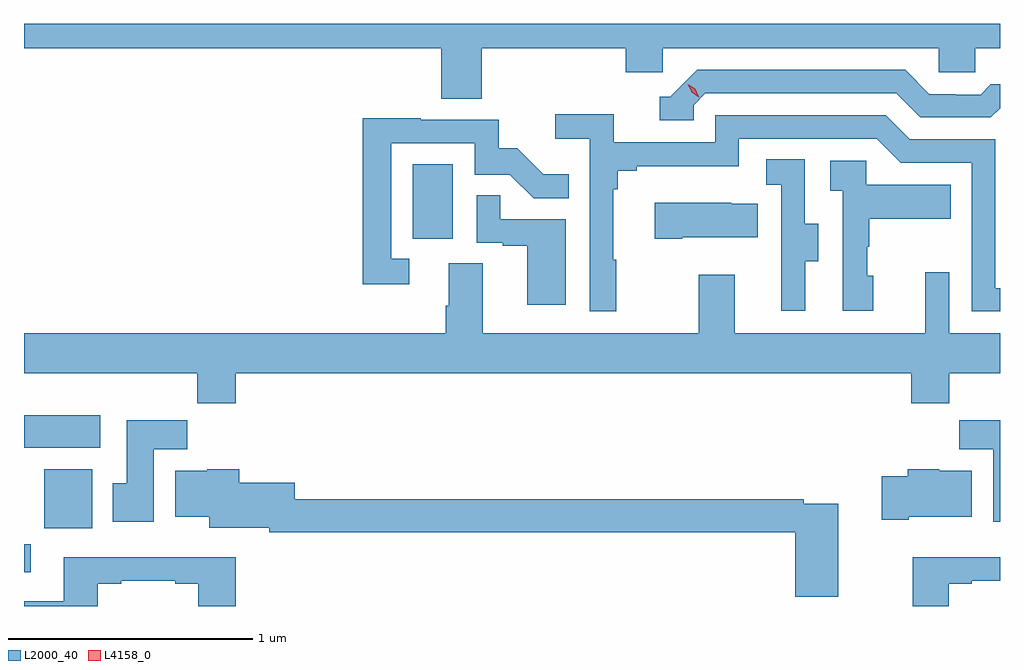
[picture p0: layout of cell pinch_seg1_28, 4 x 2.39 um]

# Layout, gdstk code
import gdstk
lib = gdstk.Library(unit=1e-6, precision=1e-09)
def R(c, l, rs):  # rectangles x0, y0, x1, y1
    for r in rs: c.add(gdstk.rectangle(r[:2], r[2:], *l))
def P(c, l, *ps):  # polygons
    for p in ps: c.add(gdstk.Polygon(p, *l))
L2000_40 = (2000, 40)
L4158_0 = (4158, 0)

pinch_seg1_28 = lib.new_cell('pinch_seg1_28')
R(pinch_seg1_28, L2000_40, [(1078.81,581.553,1078.837,581.666), (1078.892,581.732,1079.089,581.974), (1078.81,582.062,1079.122,582.196), (1080.404,582.918,1080.568,583.225)])
P(pinch_seg1_28, L2000_40, [(1080.686,583.7),(1081.277,583.7),(1081.277,583.602),(1081.428,583.602),(1081.428,583.7),(1082.559,583.7),(1082.559,583.602),(1082.709,583.602),(1082.709,583.7),(1082.81,583.7),(1082.81,583.8),(1078.81,583.8),(1078.81,583.7),(1080.521,583.7),(1080.521,583.492),(1080.686,583.492)],
  [(1081.554,583.467),(1081.602,583.515),(1082.385,583.515),(1082.484,583.416),(1082.773,583.416),(1082.81,583.453),(1082.81,583.552),(1082.773,583.552),(1082.731,583.509),(1082.628,583.509),(1082.628,583.512),(1082.521,583.512),(1082.422,583.611),(1081.569,583.611),(1081.458,583.5),(1081.415,583.5),(1081.415,583.404),(1081.554,583.404)],
  [(1081.237,582.833),(1081.225,582.833),(1081.225,583.121),(1081.244,583.121),(1081.244,583.198),(1081.321,583.198),(1081.321,583.217),(1081.74,583.217),(1081.74,583.329),(1082.304,583.329),(1082.403,583.23),(1082.694,583.23),(1082.694,582.621),(1082.81,582.621),(1082.81,582.717),(1082.79,582.717),(1082.79,583.326),(1082.44,583.326),(1082.341,583.425),(1081.644,583.425),(1081.644,583.314),(1081.226,583.314),(1081.226,583.43),(1080.987,583.43),(1080.987,583.328),(1081.128,583.328),(1081.128,582.621),(1081.237,582.621)],
  [(1080.388,582.837),(1080.315,582.837),(1080.315,583.311),(1080.657,583.311),(1080.657,583.182),(1080.801,583.182),(1080.899,583.084),(1081.043,583.084),(1081.043,583.183),(1080.939,583.183),(1080.832,583.29),(1080.756,583.29),(1080.756,583.407),(1080.437,583.407),(1080.437,583.412),(1080.199,583.412),(1080.199,582.732),(1080.388,582.732)],
  [(1082.011,582.826),(1082.065,582.826),(1082.065,582.981),(1082.01,582.981),(1082.01,583.244),(1081.851,583.244),(1081.851,583.141),(1081.914,583.141),(1081.914,582.837),(1081.913,582.837),(1081.913,582.624),(1082.011,582.624)],
  [(1082.29,582.768),(1082.265,582.768),(1082.265,582.887),(1082.275,582.887),(1082.275,583.001),(1082.609,583.001),(1082.609,583.141),(1082.262,583.141),(1082.262,583.239),(1082.115,583.239),(1082.115,583.115),(1082.166,583.115),(1082.166,582.624),(1082.29,582.624)],
  [(1081.03,582.999),(1080.761,582.999),(1080.761,583.097),(1080.666,583.097),(1080.666,582.903),(1080.773,582.903),(1080.773,582.891),(1080.872,582.891),(1080.872,582.648),(1081.03,582.648)],
  [(1081.507,582.926),(1081.817,582.926),(1081.817,583.063),(1081.709,583.063),(1081.709,583.066),(1081.395,583.066),(1081.395,582.919),(1081.507,582.919)],
  [(1079.678,582.368),(1082.447,582.368),(1082.447,582.244),(1082.603,582.244),(1082.603,582.368),(1082.81,582.368),(1082.81,582.532),(1082.601,582.532),(1082.601,582.781),(1082.504,582.781),(1082.504,582.532),(1081.723,582.532),(1081.723,582.772),(1081.576,582.772),(1081.576,582.532),(1080.691,582.532),(1080.691,582.818),(1080.551,582.818),(1080.551,582.644),(1080.539,582.644),(1080.539,582.532),(1078.81,582.532),(1078.81,582.368),(1079.521,582.368),(1079.521,582.244),(1079.678,582.244)],
  [(1079.341,582.056),(1079.48,582.056),(1079.48,582.175),(1079.231,582.175),(1079.231,581.916),(1079.174,581.916),(1079.174,581.76),(1079.341,581.76)],
  [(1082.81,582.175),(1082.644,582.175),(1082.644,582.056),(1082.783,582.056),(1082.783,581.76),(1082.81,581.76)],
  [(1082.437,581.78),(1082.695,581.78),(1082.695,581.968),(1082.562,581.968),(1082.562,581.974),(1082.432,581.974),(1082.432,581.946),(1082.325,581.946),(1082.325,581.768),(1082.437,581.768)],
  [(1082.148,581.832),(1082.006,581.832),(1082.006,581.852),(1079.92,581.852),(1079.92,581.92),(1079.693,581.92),(1079.693,581.974),(1079.562,581.974),(1079.562,581.968),(1079.429,581.968),(1079.429,581.78),(1079.57,581.78),(1079.57,581.735),(1079.816,581.735),(1079.816,581.716),(1081.97,581.716),(1081.97,581.451),(1082.148,581.451)],
  [(1079.113,581.505),(1079.209,581.505),(1079.209,581.517),(1079.429,581.517),(1079.429,581.505),(1079.525,581.505),(1079.525,581.413),(1079.678,581.413),(1079.678,581.614),(1078.973,581.614),(1078.973,581.433),(1078.81,581.433),(1078.81,581.413),(1079.113,581.413)],
  [(1082.599,581.505),(1082.695,581.505),(1082.695,581.517),(1082.81,581.517),(1082.81,581.614),(1082.452,581.614),(1082.452,581.413),(1082.599,581.413)])
P(pinch_seg1_28, L4158_0, [(1081.576,583.499),(1081.546,583.52),(1081.531,583.553),(1081.531,583.553),(1081.531,583.553),(1081.561,583.533),(1081.576,583.5),(1081.576,583.499)])

lib.write_gds('pinch_seg1_28.gds')
